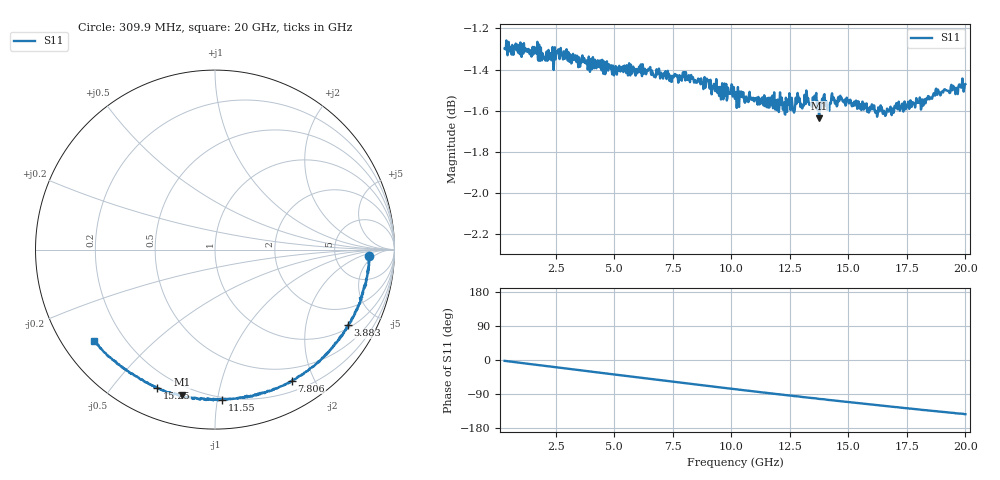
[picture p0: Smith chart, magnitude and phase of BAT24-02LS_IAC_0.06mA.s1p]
! Infineon Technologies  Discrete & RF Semiconductors
! BAT24-02LS
! IAC = 0.06 mA
! One-Port S-Parameters
# Hz  S  MA  R  50
!f  S11
!Hz  Mag  Ang
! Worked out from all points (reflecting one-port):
!   789 points, 309.9 MHz to 20 GHz, reference 50 ohm
!   lowest |S11| = -1.6 dB at 13.75 GHz (marker M1), VSWR 10.65, Z = 7.64 - j39.3 ohm
!   phase of S11 starts at -2 deg and turns -141 deg over the sweep
!   S11 on the Smith chart (normalised r, x): 309.9 MHz: 13, -3; 3.883 GHz: 1.12, -3.44; 7.806 GHz: 0.33, -1.70; 11.55 GHz: 0.19, -1.03; 15.25 GHz: 0.13, -0.66; 20 GHz: 0.09, -0.33
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3.0985e8  0.8612 -2.2
7.846125e8  0.8636 -5.9
1.634188e9  0.8606 -12.5
2.783612e9  0.8575 -21.3
3.883062e9  0.8522 -29.7
4.432788e9  0.8556 -33.9
5.232388e9  0.8515 -40.0
6.456775e9  0.8515 -49.2
7.70615e9  0.8478 -58.7
7.8061e9  0.8468 -59.5
8.980512e9  0.846 -68.2
1.015492e10  0.8373 -77.1
1.082959e10  0.8372 -81.9
1.155422e10  0.8365 -87.2
1.262869e10  0.8322 -94.8
1.282859e10  0.8401 -95.8
1.355322e10  0.8387 -100.9
1.375312e10  0.8283 -102.8
1.392804e10  0.8376 -103.6
1.410295e10  0.8321 -105.0
1.432784e10  0.8373 -106.3
1.507746e10  0.8369 -111.3
1.525238e10  0.836 -112.5
1.635182e10  0.8329 -119.8
1.755122e10  0.8359 -127.5
1.875062e10  0.8421 -135.1
1.892554e10  0.8389 -136.4
2e10  0.8442 -142.9
